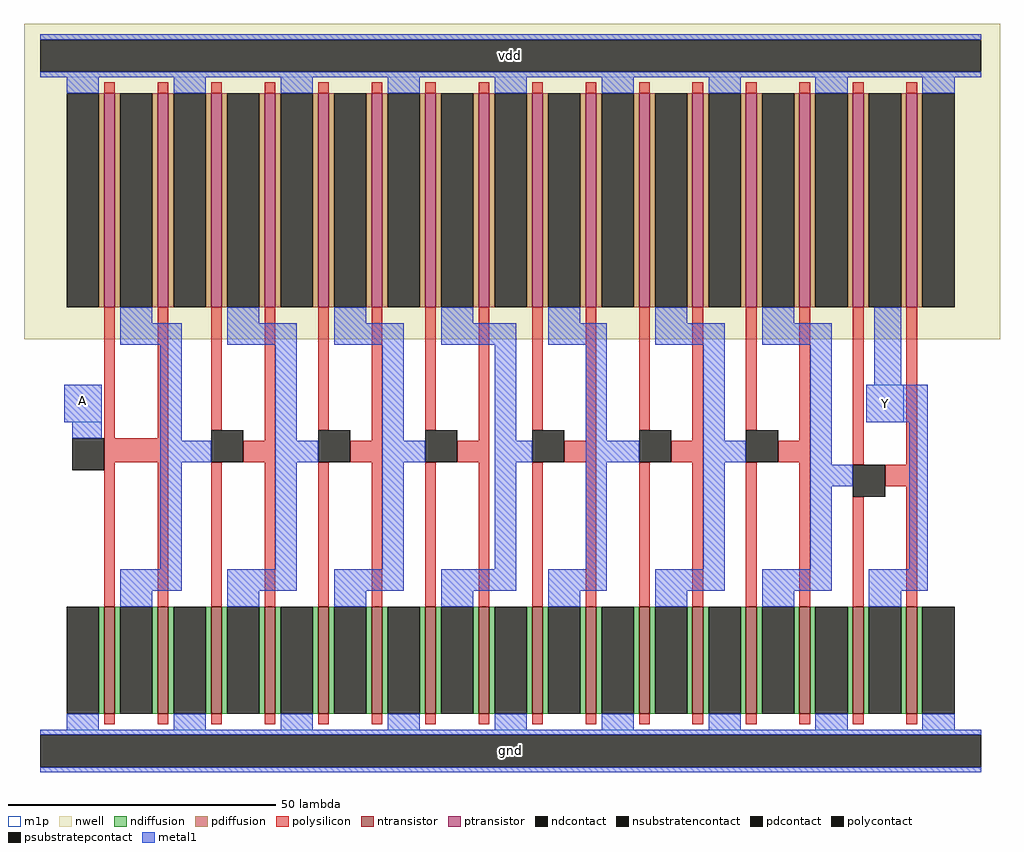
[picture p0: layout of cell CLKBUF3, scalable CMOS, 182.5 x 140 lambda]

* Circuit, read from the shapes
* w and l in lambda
.subckt CLKBUF3 A Y vdd gnd
M1 n1 A gnd gnd nfet w=20 l=2 m=2
M2 n2 n1 gnd gnd nfet w=20 l=2 m=2
M3 n3 n2 gnd gnd nfet w=20 l=2 m=2
M4 n4 n3 gnd gnd nfet w=20 l=2 m=2
M5 n5 n4 gnd gnd nfet w=20 l=2 m=2
M6 n6 n5 gnd gnd nfet w=20 l=2 m=2
M7 n7 n6 gnd gnd nfet w=20 l=2 m=2
M8 Y n7 gnd gnd nfet w=20 l=2 m=2
M9 n1 A vdd vdd pfet w=40 l=2 m=2
M10 n2 n1 vdd vdd pfet w=40 l=2 m=2
M11 n3 n2 vdd vdd pfet w=40 l=2 m=2
M12 n4 n3 vdd vdd pfet w=40 l=2 m=2
M13 n5 n4 vdd vdd pfet w=40 l=2 m=2
M14 n6 n5 vdd vdd pfet w=40 l=2 m=2
M15 n7 n6 vdd vdd pfet w=40 l=2 m=2
M16 Y n7 vdd vdd pfet w=40 l=2 m=2
.ends

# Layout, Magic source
magic
tech scmos
magscale 1 2
<< nwell >>
rect -12 154 353 272
<< ntransistor >>
rect 18 14 22 54
rect 38 14 42 54
rect 58 14 62 54
rect 78 14 82 54
rect 98 14 102 54
rect 118 14 122 54
rect 138 14 142 54
rect 158 14 162 54
rect 178 14 182 54
rect 198 14 202 54
rect 218 14 222 54
rect 238 14 242 54
rect 258 14 262 54
rect 278 14 282 54
rect 298 14 302 54
rect 318 14 322 54
<< ptransistor >>
rect 18 166 22 246
rect 38 166 42 246
rect 58 166 62 246
rect 78 166 82 246
rect 98 166 102 246
rect 118 166 122 246
rect 138 166 142 246
rect 158 166 162 246
rect 178 166 182 246
rect 198 166 202 246
rect 218 166 222 246
rect 238 166 242 246
rect 258 166 262 246
rect 278 166 282 246
rect 298 166 302 246
rect 318 166 322 246
<< ndiffusion >>
rect 16 14 18 54
rect 22 14 24 54
rect 36 14 38 54
rect 42 14 44 54
rect 56 14 58 54
rect 62 14 64 54
rect 76 14 78 54
rect 82 14 84 54
rect 96 14 98 54
rect 102 14 104 54
rect 116 14 118 54
rect 122 14 124 54
rect 136 14 138 54
rect 142 14 144 54
rect 156 14 158 54
rect 162 14 164 54
rect 176 14 178 54
rect 182 14 184 54
rect 196 14 198 54
rect 202 14 204 54
rect 216 14 218 54
rect 222 14 224 54
rect 236 14 238 54
rect 242 14 244 54
rect 256 14 258 54
rect 262 14 264 54
rect 276 14 278 54
rect 282 14 284 54
rect 296 14 298 54
rect 302 14 304 54
rect 316 14 318 54
rect 322 14 324 54
<< pdiffusion >>
rect 16 166 18 246
rect 22 166 24 246
rect 36 166 38 246
rect 42 166 44 246
rect 56 166 58 246
rect 62 166 64 246
rect 76 166 78 246
rect 82 166 84 246
rect 96 166 98 246
rect 102 166 104 246
rect 116 166 118 246
rect 122 166 124 246
rect 136 166 138 246
rect 142 166 144 246
rect 156 166 158 246
rect 162 166 164 246
rect 176 166 178 246
rect 182 166 184 246
rect 196 166 198 246
rect 202 166 204 246
rect 216 166 218 246
rect 222 166 224 246
rect 236 166 238 246
rect 242 166 244 246
rect 256 166 258 246
rect 262 166 264 246
rect 276 166 278 246
rect 282 166 284 246
rect 296 166 298 246
rect 302 166 304 246
rect 316 166 318 246
rect 322 166 324 246
<< ndcontact >>
rect 4 14 16 54
rect 24 14 36 54
rect 44 14 56 54
rect 64 14 76 54
rect 84 14 96 54
rect 104 14 116 54
rect 124 14 136 54
rect 144 14 156 54
rect 164 14 176 54
rect 184 14 196 54
rect 204 14 216 54
rect 224 14 236 54
rect 244 14 256 54
rect 264 14 276 54
rect 284 14 296 54
rect 304 14 316 54
rect 324 14 336 54
<< pdcontact >>
rect 4 166 16 246
rect 24 166 36 246
rect 44 166 56 246
rect 64 166 76 246
rect 84 166 96 246
rect 104 166 116 246
rect 124 166 136 246
rect 144 166 156 246
rect 164 166 176 246
rect 184 166 196 246
rect 204 166 216 246
rect 224 166 236 246
rect 244 166 256 246
rect 264 166 276 246
rect 284 166 296 246
rect 304 166 316 246
rect 324 166 336 246
<< psubstratepcontact >>
rect -6 -6 346 6
<< nsubstratencontact >>
rect -6 254 346 266
<< polysilicon >>
rect 18 246 22 250
rect 38 246 42 250
rect 58 246 62 250
rect 78 246 82 250
rect 98 246 102 250
rect 118 246 122 250
rect 138 246 142 250
rect 158 246 162 250
rect 178 246 182 250
rect 198 246 202 250
rect 218 246 222 250
rect 238 246 242 250
rect 258 246 262 250
rect 278 246 282 250
rect 298 246 302 250
rect 318 246 322 250
rect 18 117 22 166
rect 38 117 42 166
rect 18 108 42 117
rect 18 54 22 108
rect 38 54 42 108
rect 58 120 62 166
rect 78 116 82 166
rect 70 108 82 116
rect 58 54 62 108
rect 78 54 82 108
rect 98 120 102 166
rect 118 116 122 166
rect 110 108 122 116
rect 98 54 102 108
rect 118 54 122 108
rect 138 120 142 166
rect 158 116 162 166
rect 150 108 162 116
rect 138 54 142 108
rect 158 54 162 108
rect 178 120 182 166
rect 198 116 202 166
rect 190 108 202 116
rect 178 54 182 108
rect 198 54 202 108
rect 218 120 222 166
rect 238 116 242 166
rect 230 108 242 116
rect 218 54 222 108
rect 238 54 242 108
rect 258 120 262 166
rect 278 116 282 166
rect 270 108 282 116
rect 258 54 262 108
rect 278 54 282 108
rect 298 107 302 166
rect 318 107 322 166
rect 310 99 322 107
rect 298 54 302 95
rect 318 54 322 99
rect 18 10 22 14
rect 38 10 42 14
rect 58 10 62 14
rect 78 10 82 14
rect 98 10 102 14
rect 118 10 122 14
rect 138 10 142 14
rect 158 10 162 14
rect 178 10 182 14
rect 198 10 202 14
rect 218 10 222 14
rect 238 10 242 14
rect 258 10 262 14
rect 278 10 282 14
rect 298 10 302 14
rect 318 10 322 14
<< polycontact >>
rect 6 105 18 117
rect 58 108 70 120
rect 98 108 110 120
rect 138 108 150 120
rect 178 108 190 120
rect 218 108 230 120
rect 258 108 270 120
rect 298 95 310 107
<< metal1 >>
rect -6 266 346 268
rect -6 252 346 254
rect 4 246 16 252
rect 44 246 56 252
rect 84 246 96 252
rect 124 246 136 252
rect 164 246 176 252
rect 204 246 216 252
rect 244 246 256 252
rect 284 246 296 252
rect 324 246 336 252
rect 24 160 36 166
rect 64 160 76 166
rect 104 160 116 166
rect 144 160 156 166
rect 184 160 196 166
rect 224 160 236 166
rect 264 160 276 166
rect 24 152 47 160
rect 64 152 90 160
rect 104 152 130 160
rect 144 152 172 160
rect 184 152 206 160
rect 224 152 250 160
rect 264 152 290 160
rect 3 123 17 137
rect 6 117 17 123
rect 39 116 47 152
rect 39 108 58 116
rect 82 116 90 152
rect 82 108 98 116
rect 122 116 130 152
rect 122 108 138 116
rect 164 116 172 152
rect 164 108 178 116
rect 198 116 206 152
rect 198 108 218 116
rect 242 116 250 152
rect 242 108 258 116
rect 39 68 47 108
rect 82 68 90 108
rect 122 68 130 108
rect 164 68 172 108
rect 198 68 206 108
rect 242 68 250 108
rect 282 107 290 152
rect 306 137 316 166
rect 303 123 326 137
rect 282 99 298 107
rect 282 68 290 99
rect 319 68 326 123
rect 24 60 47 68
rect 64 60 90 68
rect 104 60 130 68
rect 144 60 172 68
rect 184 60 206 68
rect 224 60 250 68
rect 264 60 290 68
rect 304 60 326 68
rect 24 54 36 60
rect 64 54 76 60
rect 104 54 116 60
rect 144 54 156 60
rect 184 54 196 60
rect 224 54 236 60
rect 264 54 276 60
rect 304 54 316 60
rect 4 8 16 14
rect 44 8 56 14
rect 84 8 96 14
rect 124 8 136 14
rect 164 8 176 14
rect 204 8 216 14
rect 244 8 256 14
rect 284 8 296 14
rect 324 8 336 14
rect -6 6 346 8
rect -6 -8 346 -6
<< m1p >>
rect -6 252 346 268
rect 3 123 17 137
rect 303 123 317 137
rect -6 -8 346 8
<< labels >>
rlabel nsubstratencontact 170 260 170 260 0 vdd
port 3 nsew power bidirectional abutment
rlabel psubstratepcontact 170 0 170 0 0 gnd
port 4 nsew ground bidirectional abutment
rlabel metal1 10 131 10 131 0 A
port 1 nsew signal input
rlabel metal1 310 130 310 130 0 Y
port 2 nsew signal output
<< properties >>
string FIXED_BBOX 0 0 340 260
string LEFclass CORE
string LEFsite core
string LEFsymmetry X Y
<< end >>
